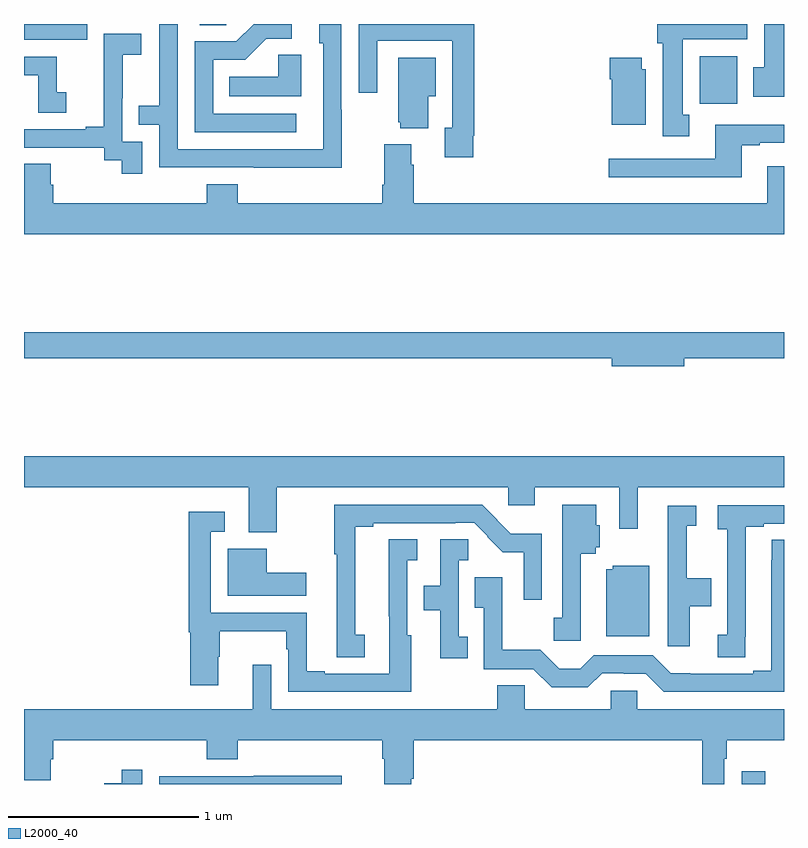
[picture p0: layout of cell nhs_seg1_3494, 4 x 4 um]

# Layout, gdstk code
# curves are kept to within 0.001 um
import gdstk
lib = gdstk.Library(unit=1e-6, precision=1e-09)
def R(c, l, rs):  # rectangles x0, y0, x1, y1
    for r in rs: c.add(gdstk.rectangle(r[:2], r[2:], *l))
def P(c, l, *ps):  # polygons
    for p in ps: c.add(gdstk.Polygon(p, *l))
L2000_40 = (2000, 40)

nhs_seg1_3494 = lib.new_cell('nhs_seg1_3494')
R(nhs_seg1_3494, L2000_40, [(304.778,522.199,304.9,522.265), (304.557,525.78,304.753,526.03), (301,526.116,301.332,526.199), (301.925,526.192,302.064,526.199)])
P(nhs_seg1_3494, L2000_40, [(305,526.199),(304.895,526.199),(304.895,525.972),(304.838,525.972),(304.838,525.816),(305,525.816)],
  [(302.673,525.749),(302.67,525.749),(302.67,526.199),(302.555,526.199),(302.555,526.098),(302.574,526.098),(302.574,525.54),(301.809,525.54),(301.809,526.199),(301.713,526.199),(301.713,525.77),(301.603,525.77),(301.603,525.669),(301.713,525.669),(301.713,525.444),(302.209,525.444),(302.209,525.443),(302.673,525.443)],
  [(304.501,525.721),(304.468,525.721),(304.468,526.118),(304.807,526.118),(304.807,526.199),(304.334,526.199),(304.334,526.098),(304.361,526.098),(304.361,525.609),(304.501,525.609)],
  [(302.434,525.726),(301.995,525.726),(301.995,526.011),(302.164,526.011),(302.275,526.122),(302.41,526.122),(302.41,526.199),(302.21,526.199),(302.118,526.107),(301.899,526.107),(301.899,525.63),(302.434,525.63)],
  [(303.364,525.61),(303.371,525.61),(303.371,526.199),(302.763,526.199),(302.763,525.837),(302.859,525.837),(302.859,526.11),(303.255,526.11),(303.255,525.654),(303.215,525.654),(303.215,525.498),(303.364,525.498)],
  [(301.623,525.579),(301.518,525.579),(301.518,525.809),(301.52,525.809),(301.52,526.037),(301.618,526.037),(301.618,526.147),(301.42,526.147),(301.42,525.941),(301.421,525.941),(301.421,525.658),(301.325,525.658),(301.325,525.645),(301,525.645),(301,525.549),(301.422,525.549),(301.422,525.481),(301.515,525.481),(301.515,525.411),(301.623,525.411)],
  [(302.458,526.037),(302.337,526.037),(302.337,525.922),(302.08,525.922),(302.08,525.818),(302.458,525.818)],
  [(301.222,525.841),(301.173,525.841),(301.173,526.026),(301,526.026),(301,525.93),(301.074,525.93),(301.074,525.732),(301.222,525.732)],
  [(303.127,525.818),(303.166,525.818),(303.166,526.021),(302.969,526.021),(302.969,525.681),(302.981,525.681),(302.981,525.65),(303.127,525.65)],
  [(304.273,525.96),(304.252,525.96),(304.252,526.021),(304.082,526.021),(304.082,525.908),(304.094,525.908),(304.094,525.668),(304.273,525.668)],
  [(304.777,525.561),(304.873,525.561),(304.873,525.573),(305,525.573),(305,525.67),(304.637,525.67),(304.637,525.489),(304.077,525.489),(304.077,525.392),(304.777,525.392)],
  [(305,525.451),(304.913,525.451),(304.913,525.256),(303.05,525.256),(303.05,525.458),(303.037,525.458),(303.037,525.565),(302.897,525.565),(302.897,525.352),(302.885,525.352),(302.885,525.256),(302.126,525.256),(302.126,525.355),(301.961,525.355),(301.961,525.256),(301.154,525.256),(301.154,525.354),(301.141,525.354),(301.141,525.464),(301,525.464),(301,525.092),(305,525.092)],
  [(304.474,524.44),(305,524.44),(305,524.576),(301,524.576),(301,524.44),(304.094,524.44),(304.094,524.398),(304.474,524.398)],
  [(302.331,523.76),(303.549,523.76),(303.549,523.665),(303.688,523.665),(303.688,523.76),(304.134,523.76),(304.134,523.542),(304.231,523.542),(304.231,523.76),(305,523.76),(305,523.924),(301,523.924),(301,523.76),(302.183,523.76),(302.183,523.523),(302.331,523.523)],
  [(303.931,523.412),(304.008,523.412),(304.008,523.446),(304.03,523.446),(304.03,523.56),(304.012,523.56),(304.012,523.669),(303.834,523.669),(303.834,523.073),(303.789,523.073),(303.789,522.954),(303.931,522.954)],
  [(302.794,522.984),(302.744,522.984),(302.744,523.552),(302.839,523.552),(302.839,523.572),(303.269,523.572),(303.269,523.575),(303.369,523.575),(303.441,523.503),(303.438,523.5),(303.521,523.418),(303.63,523.418),(303.63,523.17),(303.726,523.17),(303.726,523.516),(303.561,523.516),(303.488,523.589),(303.49,523.591),(303.412,523.668),(302.634,523.668),(302.634,523.408),(302.645,523.408),(302.645,522.865),(302.794,522.865)],
  [(304.797,522.973),(304.798,522.973),(304.798,523.554),(304.894,523.554),(304.894,523.569),(305,523.569),(305,523.665),(304.65,523.665),(304.65,523.541),(304.701,523.541),(304.701,522.984),(304.65,522.984),(304.65,522.865),(304.797,522.865)],
  [(304.504,523.135),(304.616,523.135),(304.616,523.282),(304.487,523.282),(304.487,523.557),(304.537,523.557),(304.537,523.663),(304.388,523.663),(304.388,522.924),(304.504,522.924)],
  [(303.037,522.981),(303.018,522.981),(303.018,523.376),(303.07,523.376),(303.07,523.487),(302.921,523.487),(302.921,523.081),(302.922,523.081),(302.922,522.78),(302.584,522.78),(302.584,522.793),(302.488,522.793),(302.488,523.101),(301.983,523.101),(301.983,523.527),(302.056,523.527),(302.056,523.633),(301.867,523.633),(301.867,522.998),(301.874,522.998),(301.874,522.72),(302.023,522.72),(302.023,522.87),(302.031,522.87),(302.031,523.004),(302.379,523.004),(302.379,522.908),(302.391,522.908),(302.391,522.684),(303.037,522.684)],
  [(303.335,522.974),(303.288,522.974),(303.288,523.376),(303.337,523.376),(303.337,523.487),(303.192,523.487),(303.192,523.243),(303.103,523.243),(303.103,523.114),(303.191,523.114),(303.191,522.861),(303.335,522.861)],
  [(305,523.484),(304.935,523.484),(304.934,522.795),(304.838,522.795),(304.838,522.78),(304.403,522.781),(304.308,522.876),(303.999,522.876),(303.928,522.805),(303.818,522.805),(303.718,522.905),(303.516,522.905),(303.516,523.288),(303.373,523.288),(303.373,523.127),(303.42,523.127),(303.42,522.804),(303.681,522.804),(303.778,522.707),(303.968,522.707),(304.044,522.783),(304.157,522.783),(304.157,522.78),(304.272,522.78),(304.368,522.684),(305,522.684)],
  [(302.485,523.312),(302.278,523.312),(302.278,523.438),(302.072,523.438),(302.072,523.19),(302.485,523.19)],
  [(304.291,523.348),(304.098,523.348),(304.098,523.33),(304.064,523.33),(304.064,522.977),(304.291,522.977)],
  [(303.037,522.226),(303.05,522.226),(303.05,522.428),(304.57,522.428),(304.57,522.199),(304.686,522.199),(304.686,522.332),(304.699,522.332),(304.699,522.428),(305,522.428),(305,522.592),(304.227,522.592),(304.227,522.69),(304.089,522.69),(304.089,522.592),(303.636,522.592),(303.636,522.719),(303.49,522.719),(303.49,522.592),(302.301,522.592),(302.301,522.826),(302.204,522.826),(302.204,522.592),(301,522.592),(301,522.22),(301.141,522.22),(301.141,522.33),(301.154,522.33),(301.154,522.428),(301.961,522.428),(301.961,522.329),(302.126,522.329),(302.126,522.428),(302.885,522.428),(302.885,522.332),(302.897,522.332),(302.897,522.199),(303.037,522.199)],
  [(301.623,522.274),(301.515,522.274),(301.515,522.204),(301.422,522.204),(301.422,522.199),(301.623,522.199)],
  [(302.673,522.242),(302.209,522.242),(302.209,522.24),(301.713,522.24),(301.713,522.199),(302.673,522.199)])

lib.write_gds('nhs_seg1_3494.gds')
